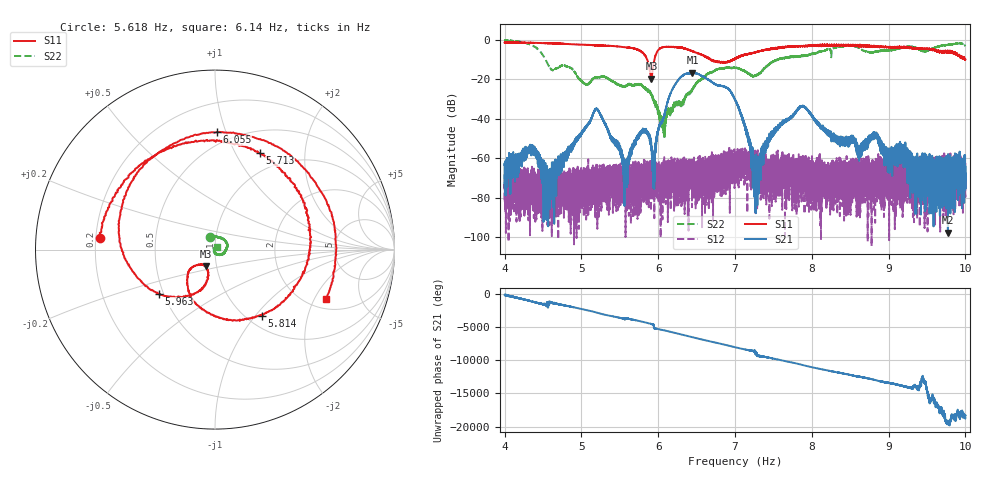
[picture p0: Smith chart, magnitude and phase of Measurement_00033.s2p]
!Created with skrf (http://scikit-rf.org).
# Hz S RI R 50.0
!freq ReS11 ImS11 ReS21 ImS21 ReS12 ImS12 ReS22 ImS22
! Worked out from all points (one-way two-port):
!   14001 points, 4 Hz to 10 Hz, reference 50 ohm
!   highest |S21| = -16.62 dB at 6.446 Hz (marker M1); lowest = -97.9 dB at 9.772 Hz (marker M2)
!   lowest |S11| = -19.5 dB at 5.912 Hz (marker M3), VSWR 1.24, Z = 44.5 - j8.35 ohm
!   |S11| at or under -10 dB: 5.858 Hz to 5.949 Hz (91.44 mHz wide, 1.55 % of centre); 6.685 Hz to 6.966 Hz (281 mHz wide, 4.12 % of centre); 9.995811 Hz to 9.997977 Hz (2.166 mHz wide, 0.0217 % of centre) (the widest 3 of 13)
!   |S22| runs from -50.2 to -0.2 dB; largest |S21 - S12| = 0.15
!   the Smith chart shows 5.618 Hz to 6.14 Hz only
!   S11 on the Smith chart (normalised r, x): 5.618 Hz: 0.22, +0.05; 5.713 Hz: 0.76, +1.26; 5.814 Hz: 1.17, -1.08; 5.963 Hz: 0.47, -0.28; 6.055 Hz: 0.41, +0.93; 6.14 Hz: 2.46, -2.49
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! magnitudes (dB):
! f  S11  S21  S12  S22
! 4 Hz  -1.2  -74.4  -81.0  -0.2
! 4.35 Hz  -1.4  -55.0  -75.1  -2.5
! 4.571 Hz  -1.6  -74.7  -74.2  -12.8
! 5 Hz  -2.3  -47.1  -74.1  -20.8
! 5.204 Hz  -2.7  -34.9  -67.3  -18.9
! 5.566 Hz  -3.6  -63.3  -73.8  -23.4
! 5.618 Hz  -3.8  -60.2  -67.1  -22.5
! 5.713 Hz  -4.6  -50.3  -68.2  -22.6
! 5.814 Hz  -6.9  -45.9  -59.9  -23.9
! 5.912 Hz  -19.5  -54.0  -67.0  -27.9
! 5.963 Hz  -7.9  -54.8  -79.9  -32.9
! 6 Hz  -5.1  -45.0  -68.3  -36.0
! 6.055 Hz  -3.7  -40.7  -62.1  -41.9
! 6.14 Hz  -3.4  -29.3  -65.5  -35.7
! 6.446 Hz  -5.7  -16.6  -70.4  -25.2
! 7 Hz  -9.4  -30.3  -58.2  -14.0
! 7.276 Hz  -6.1  -67.0  -64.3  -18.2
! 7.586 Hz  -3.9  -42.9  -61.3  -9.6
! 8 Hz  -2.9  -38.1  -74.1  -6.9
! 9 Hz  -3.7  -59.4  -62.5  -5.0
! 9.772 Hz  -5.6  -97.9  -64.6  -2.4
! 10 Hz  -9.8  -67.7  -69.6  -3.1
